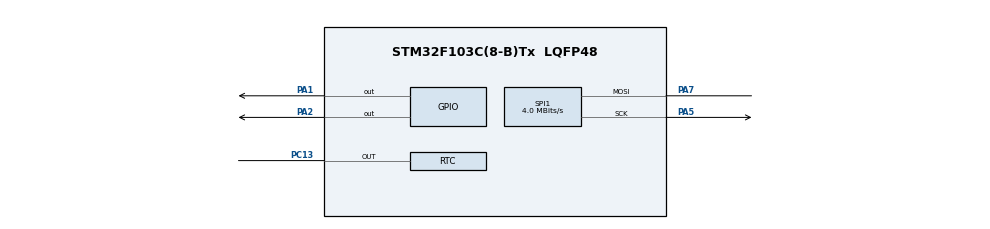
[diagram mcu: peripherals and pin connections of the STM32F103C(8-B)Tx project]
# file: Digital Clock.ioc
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Mcu.Family=STM32F1
Mcu.Name=STM32F103C(8-B)Tx
Mcu.Package=LQFP48
NVIC.PriorityGroup=NVIC_PRIORITYGROUP_4
PA1.Signal=GPIO_Output
PA13.Mode=Serial_Wire
PA13.Signal=SYS_JTMS-SWDIO
PA14.Mode=Serial_Wire
PA14.Signal=SYS_JTCK-SWCLK
PA2.Signal=GPIO_Output
PA5.Mode=Simplex_Bidirectional_Master
PA5.Signal=SPI1_SCK
PA7.Mode=Simplex_Bidirectional_Master
PA7.Signal=SPI1_MOSI
PC13-TAMPER-RTC.Mode=RTC OUT
PC13-TAMPER-RTC.Signal=RTC_OUT
PC14-OSC32_IN.Mode=LSE-External-Oscillator
PC14-OSC32_IN.Signal=RCC_OSC32_IN
PC15-OSC32_OUT.Mode=LSE-External-Oscillator
PC15-OSC32_OUT.Signal=RCC_OSC32_OUT
PD0-OSC_IN.Mode=HSE-External-Oscillator
PD0-OSC_IN.Signal=RCC_OSC_IN
PD1-OSC_OUT.Mode=HSE-External-Oscillator
PD1-OSC_OUT.Signal=RCC_OSC_OUT
ProjectManager.HeapSize=0x200
ProjectManager.StackSize=0x400
ProjectManager.TargetToolchain=STM32CubeIDE
RCC.APB1Freq_Value=8000000
RCC.APB2Freq_Value=8000000
RTC.Date=19
RTC.Format=RTC_FORMAT_BCD
RTC.Hours=4
RTC.Minutes=20
RTC.Month=RTC_MONTH_MARCH
RTC.Seconds=50
RTC.WeekDay=RTC_WEEKDAY_TUESDAY
RTC.Year=24
SPI1.CalculateBaudRate=4.0 MBits/s
SPI1.Direction=SPI_DIRECTION_1LINE
SPI1.Mode=SPI_MODE_MASTER
SPI1.VirtualType=VM_MASTER
VP_RTC_VS_RTC_Activate.Mode=RTC_Enabled
VP_RTC_VS_RTC_Calendar.Mode=RTC_Calendar
board=custom

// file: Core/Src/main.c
/* USER CODE BEGIN Header */
/**
  ******************************************************************************
  * @file           : main.c
  * @brief          : Main program body
  ******************************************************************************
  * @attention
  *
  * Copyright (c) 2024 STMicroelectronics.
  * All rights reserved.
  *
  * This software is licensed under terms that can be found in the LICENSE file
  * in the root directory of this software component.
  * If no LICENSE file comes with this software, it is provided AS-IS.
  *
  ******************************************************************************
  */
/* USER CODE END Header */
#include "main.h"

/* USER CODE BEGIN Includes */

#include <string.h>
#include "ST7735.h"
#include "fonts.h"

/* USER CODE END Includes */

RTC_HandleTypeDef hrtc;

SPI_HandleTypeDef hspi1;

void SystemClock_Config(void);
static void MX_GPIO_Init(void);
static void MX_SPI1_Init(void);
static void MX_RTC_Init(void);

int main(void)
{

  /* MCU Configuration--------------------------------------------------------*/

  /* Reset of all peripherals, Initializes the Flash interface and the Systick. */
  HAL_Init();

  /* Configure the system clock */
  SystemClock_Config();

  /* Initialize all configured peripherals */
  MX_GPIO_Init();
  MX_SPI1_Init();
  MX_RTC_Init();

  /* USER CODE BEGIN 2 */

  ST7735_Init();
  ST7735_FillScreen(ST7735_BLACK);
  ST7735_WriteString(20,15,"Digital Clock",Font_7x10,ST7735_WHITE,ST7735_BLACK);

  	char str_Time[] = "";
    char str_Year[] = "";
    char date[3];

    RTC_TimeTypeDef sTime;
    RTC_DateTypeDef sDate;

  /* USER CODE END 2 */

  /* Infinite loop */
  /* USER CODE BEGIN WHILE */
  while (1)
  {
	   /* USER CODE BEGIN 3 */
	  HAL_RTC_GetTime(&hrtc, &sTime, RTC_FORMAT_BIN);
	  sprintf(str_Time,"%02d:%02d:%02d",sTime.Hours,sTime.Minutes,sTime.Seconds);
	  ST7735_WriteString(20,40,str_Time,Font_11x18,ST7735_RED,ST7735_BLACK);

	  HAL_RTC_GetDate(&hrtc, &sDate, RTC_FORMAT_BIN);
	  sprintf(date,"%02d",sDate.Date);
	  sprintf(str_Year,"%02d",2000+sDate.Year);
	  ST7735_WriteString(10,75,date,Font_11x18,ST7735_CYAN,ST7735_BLACK);
	  ST7735_WriteString(80,75,str_Year,Font_11x18,ST7735_CYAN,ST7735_BLACK);

	  switch (sDate.Month)
		{
			case RTC_MONTH_JANUARY:
				ST7735_WriteString(40,75,"Jan",Font_11x18,ST7735_CYAN,ST7735_BLACK);
				break;
			case RTC_MONTH_FEBRUARY:
				ST7735_WriteString(40,75,"Feb",Font_11x18,ST7735_CYAN,ST7735_BLACK);
				break;
			case RTC_MONTH_MARCH:
				ST7735_WriteString(40,75,"Mar",Font_11x18,ST7735_CYAN,ST7735_BLACK);
				break;
			case RTC_MONTH_APRIL:
				ST7735_WriteString(40,75,"Apr",Font_11x18,ST7735_CYAN,ST7735_BLACK);
				break;
			case RTC_MONTH_MAY:
				ST7735_WriteString(40,75,"May",Font_11x18,ST7735_CYAN,ST7735_BLACK);
				break;
			case RTC_MONTH_JUNE:
				ST7735_WriteString(40,75,"Jun",Font_11x18,ST7735_CYAN,ST7735_BLACK);
				break;
			case RTC_MONTH_JULY:
				ST7735_WriteString(40,75,"Jul",Font_11x18,ST7735_CYAN,ST7735_BLACK);
				break;
			case RTC_MONTH_AUGUST:
				ST7735_WriteString(40,75,"Aug",Font_11x18,ST7735_CYAN,ST7735_BLACK);
				break;
			case RTC_MONTH_SEPTEMBER:
				ST7735_WriteString(40,75,"Sept",Font_11x18,ST7735_CYAN,ST7735_BLACK);
				break;
			case RTC_MONTH_OCTOBER:
				ST7735_WriteString(40,75,"Oct",Font_11x18,ST7735_CYAN,ST7735_BLACK);
				break;
			case RTC_MONTH_NOVEMBER:
				ST7735_WriteString(40,75,"Nov",Font_11x18,ST7735_CYAN,ST7735_BLACK);
				break;
			case RTC_MONTH_DECEMBER:
				ST7735_WriteString(40,75,"Dec",Font_11x18,ST7735_CYAN,ST7735_BLACK);
				break;
			default:
				break;
		}

	  switch (sDate.WeekDay)
	   	{
	   		case RTC_WEEKDAY_MONDAY:
	   			ST7735_WriteString(25,110,"Monday",Font_11x18,ST7735_YELLOW,ST7735_BLACK);
	   			break;
	   		case RTC_WEEKDAY_TUESDAY:
	   			ST7735_WriteString(25,110,"Tuesday",Font_11x18,ST7735_YELLOW,ST7735_BLACK);
	   			break;
	   		case RTC_WEEKDAY_WEDNESDAY:
	   		 	ST7735_WriteString(25,110,"Wednesday",Font_11x18,ST7735_YELLOW,ST7735_BLACK);
	   		 	break;
	  		case RTC_WEEKDAY_THURSDAY:
	  			ST7735_WriteString(25,110,"Thursday",Font_11x18,ST7735_YELLOW,ST7735_BLACK);
	  			break;
	  		case RTC_WEEKDAY_FRIDAY:
	  			ST7735_WriteString(25,110,"Friday",Font_11x18,ST7735_YELLOW,ST7735_BLACK);
	  			break;
	  		case RTC_WEEKDAY_SATURDAY:
	  			ST7735_WriteString(25,110,"Saturday",Font_11x18,ST7735_YELLOW,ST7735_BLACK);
	  			break;
	  		case RTC_WEEKDAY_SUNDAY:
	  			ST7735_WriteString(25,110,"Sunday",Font_11x18,ST7735_YELLOW,ST7735_BLACK);
	  			break;
	  		default:
	  			break;
	   	}

	  HAL_Delay(500);

  /* USER CODE END 3 */
  }
  /* USER CODE END WHILE */
}

void SystemClock_Config(void)
{
  RCC_OscInitTypeDef RCC_OscInitStruct = {0};
  RCC_ClkInitTypeDef RCC_ClkInitStruct = {0};
  RCC_PeriphCLKInitTypeDef PeriphClkInit = {0};

  /** Initializes the RCC Oscillators according to the specified parameters
  * in the RCC_OscInitTypeDef structure.
  */
  RCC_OscInitStruct.OscillatorType = RCC_OSCILLATORTYPE_HSI|RCC_OSCILLATORTYPE_LSI;
  RCC_OscInitStruct.HSIState = RCC_HSI_ON;
  RCC_OscInitStruct.HSICalibrationValue = RCC_HSICALIBRATION_DEFAULT;
  RCC_OscInitStruct.LSIState = RCC_LSI_ON;
  RCC_OscInitStruct.PLL.PLLState = RCC_PLL_NONE;
  if (HAL_RCC_OscConfig(&RCC_OscInitStruct) != HAL_OK)
  {
    Error_Handler();
  }

  /** Initializes the CPU, AHB and APB buses clocks
  */
  RCC_ClkInitStruct.ClockType = RCC_CLOCKTYPE_HCLK|RCC_CLOCKTYPE_SYSCLK
                              |RCC_CLOCKTYPE_PCLK1|RCC_CLOCKTYPE_PCLK2;
  RCC_ClkInitStruct.SYSCLKSource = RCC_SYSCLKSOURCE_HSI;
  RCC_ClkInitStruct.AHBCLKDivider = RCC_SYSCLK_DIV1;
  RCC_ClkInitStruct.APB1CLKDivider = RCC_HCLK_DIV1;
  RCC_ClkInitStruct.APB2CLKDivider = RCC_HCLK_DIV1;

  if (HAL_RCC_ClockConfig(&RCC_ClkInitStruct, FLASH_LATENCY_0) != HAL_OK)
  {
    Error_Handler();
  }
  PeriphClkInit.PeriphClockSelection = RCC_PERIPHCLK_RTC;
  PeriphClkInit.RTCClockSelection = RCC_RTCCLKSOURCE_LSI;
  if (HAL_RCCEx_PeriphCLKConfig(&PeriphClkInit) != HAL_OK)
  {
    Error_Handler();
  }
}

static void MX_RTC_Init(void)
{

  RTC_TimeTypeDef sTime = {0};
  RTC_DateTypeDef DateToUpdate = {0};

  /** Initialize RTC Only
  */
  hrtc.Instance = RTC;
  hrtc.Init.AsynchPrediv = RTC_AUTO_1_SECOND;
  hrtc.Init.OutPut = RTC_OUTPUTSOURCE_ALARM;
  if (HAL_RTC_Init(&hrtc) != HAL_OK)
  {
    Error_Handler();
  }

  /** Initialize RTC and set the Time and Date
  */
  sTime.Hours = 0x7;
  sTime.Minutes = 0x51;
  sTime.Seconds = 0x40;

  if (HAL_RTC_SetTime(&hrtc, &sTime, RTC_FORMAT_BCD) != HAL_OK)
  {
    Error_Handler();
  }
  DateToUpdate.WeekDay = RTC_WEEKDAY_TUESDAY;
  DateToUpdate.Month = RTC_MONTH_MARCH;
  DateToUpdate.Date = 0x19;
  DateToUpdate.Year = 0x24;

  if (HAL_RTC_SetDate(&hrtc, &DateToUpdate, RTC_FORMAT_BCD) != HAL_OK)
  {
    Error_Handler();
  }

}

static void MX_SPI1_Init(void)
{

  /* SPI1 parameter configuration*/
  hspi1.Instance = SPI1;
  hspi1.Init.Mode = SPI_MODE_MASTER;
  hspi1.Init.Direction = SPI_DIRECTION_1LINE;
  hspi1.Init.DataSize = SPI_DATASIZE_8BIT;
  hspi1.Init.CLKPolarity = SPI_POLARITY_LOW;
  hspi1.Init.CLKPhase = SPI_PHASE_1EDGE;
  hspi1.Init.NSS = SPI_NSS_SOFT;
  hspi1.Init.BaudRatePrescaler = SPI_BAUDRATEPRESCALER_32;
  hspi1.Init.FirstBit = SPI_FIRSTBIT_MSB;
  hspi1.Init.TIMode = SPI_TIMODE_DISABLE;
  hspi1.Init.CRCCalculation = SPI_CRCCALCULATION_DISABLE;
  hspi1.Init.CRCPolynomial = 10;
  if (HAL_SPI_Init(&hspi1) != HAL_OK)
  {
    Error_Handler();
  }

}

static void MX_GPIO_Init(void)
{
  GPIO_InitTypeDef GPIO_InitStruct = {0};

  /* GPIO Ports Clock Enable */
  __HAL_RCC_GPIOC_CLK_ENABLE();
  __HAL_RCC_GPIOD_CLK_ENABLE();
  __HAL_RCC_GPIOA_CLK_ENABLE();

  /*Configure GPIO pin Output Level */
  HAL_GPIO_WritePin(GPIOA, GPIO_PIN_1|GPIO_PIN_2, GPIO_PIN_RESET);

  /*Configure GPIO pins : PA1 PA2 */
  GPIO_InitStruct.Pin = GPIO_PIN_1|GPIO_PIN_2;
  GPIO_InitStruct.Mode = GPIO_MODE_OUTPUT_PP;
  GPIO_InitStruct.Pull = GPIO_NOPULL;
  GPIO_InitStruct.Speed = GPIO_SPEED_FREQ_LOW;
  HAL_GPIO_Init(GPIOA, &GPIO_InitStruct);

}

void Error_Handler(void)
{
  __disable_irq();
  while (1)
  {
  }
}
